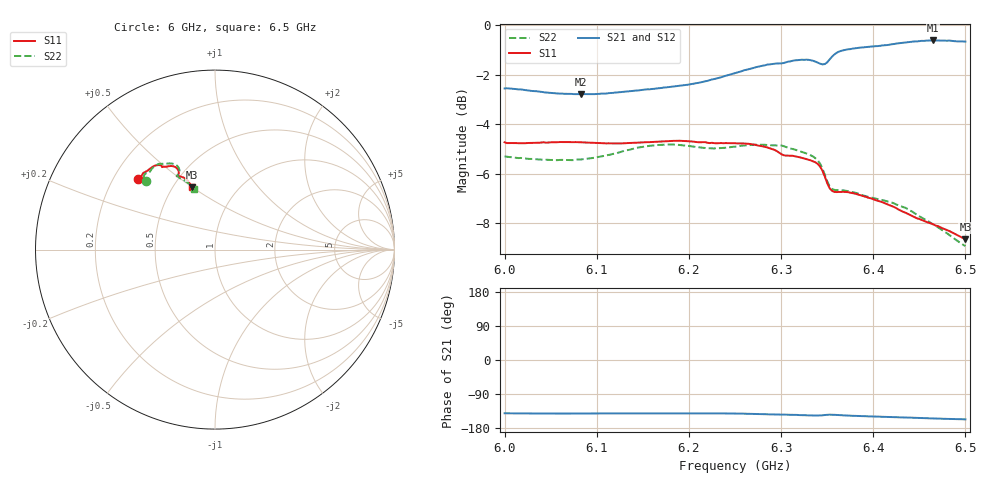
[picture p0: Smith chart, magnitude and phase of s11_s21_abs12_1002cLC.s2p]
! MS46122B
! 1919307/90821646
! 7/29/2022 1:52:32 PM
! C:\USERS\PC_\DESKTOP\MEDICIONES\BANCHA ESTRECHA\6_65_GHZ\S11_S21_ABS12_1002CL.S2P
! CHANNEL.1
! TR.MEASUREMENT
! CORRECTED.DATA
# GHZ S RI R 50.0
! FREQ.GHZ  S11RE  S11IM  S21RE  S21IM  S12RE  S12IM  S22RE  S22IM
!; PortSelection: Port_12
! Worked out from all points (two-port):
!   201 points, 6 GHz to 6.5 GHz, reference 50 ohm
!   highest |S21| = -0.61 dB at 6.465 GHz (marker M1); lowest = -2.8 dB at 6.082 GHz (marker M2)
!   |S21| within 3 dB of the highest: start of sweep to end of sweep
!   lowest |S11| = -8.6 dB at 6.5 GHz (marker M3), VSWR 2.17, Z = 31 + j24.9 ohm
!   |S11| at or under -10 dB: nowhere
!   |S22| runs from -8.9 to -4.8 dB; largest |S21 - S12| = 0.018
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6  -0.429 0.3913  -0.5759 -0.4737  -0.5649 -0.4761  -0.3836 0.385
6.045  -0.4381 0.3794  -0.5702 -0.4585  -0.5604 -0.4558  -0.3808 0.3762
6.0825  -0.437 0.3825  -0.5658 -0.455  -0.5522 -0.457  -0.3902 0.3673
6.085  -0.4361 0.3829  -0.5655 -0.4558  -0.5517 -0.4579  -0.3912 0.3672
6.1075  -0.4249 0.3918  -0.5656 -0.4581  -0.5506 -0.4622  -0.3953 0.3744
6.1675  -0.4052 0.4184  -0.5796 -0.4703  -0.5647 -0.4784  -0.3924 0.418
6.2125  -0.385 0.4345  -0.5955 -0.4831  -0.5839 -0.4956  -0.3751 0.4248
6.25  -0.3543 0.4568  -0.625 -0.5002  -0.6186 -0.5132  -0.3567 0.443
6.28  -0.3215 0.4703  -0.6609 -0.5004  -0.6548 -0.5106  -0.3348 0.4662
6.2975  -0.2981 0.4668  -0.6772 -0.4929  -0.6724 -0.5034  -0.3187 0.4752
6.305  -0.2947 0.4594  -0.6822 -0.4927  -0.6775 -0.5038  -0.3072 0.4782
6.32  -0.2837 0.4612  -0.7003 -0.4836  -0.6944 -0.4985  -0.2862 0.4782
6.335  -0.258 0.4643  -0.7059 -0.4694  -0.7041 -0.4798  -0.2531 0.4804
6.3425  -0.2307 0.4639  -0.6957 -0.4645  -0.6936 -0.474  -0.2233 0.475
6.35  -0.2021 0.4358  -0.6865 -0.4872  -0.6842 -0.4967  -0.1975 0.4425
6.3575  -0.2084 0.4113  -0.7112 -0.5049  -0.7089 -0.5136  -0.2075 0.4167
6.3725  -0.2106 0.4095  -0.7477 -0.491  -0.7454 -0.4995  -0.2124 0.4112
6.4175  -0.1701 0.3987  -0.7945 -0.4513  -0.7934 -0.4619  -0.1912 0.3962
6.445  -0.1495 0.3815  -0.823 -0.4287  -0.8247 -0.4315  -0.1657 0.3829
6.465  -0.1425 0.3703  -0.8405 -0.4028  -0.8359 -0.4076  -0.1457 0.3686
6.4825  -0.1341 0.3602  -0.8483 -0.3852  -0.8395 -0.385  -0.1278 0.355
6.5  -0.1283 0.3468  -0.8506 -0.3687  -0.8408 -0.3723  -0.1167 0.3386
